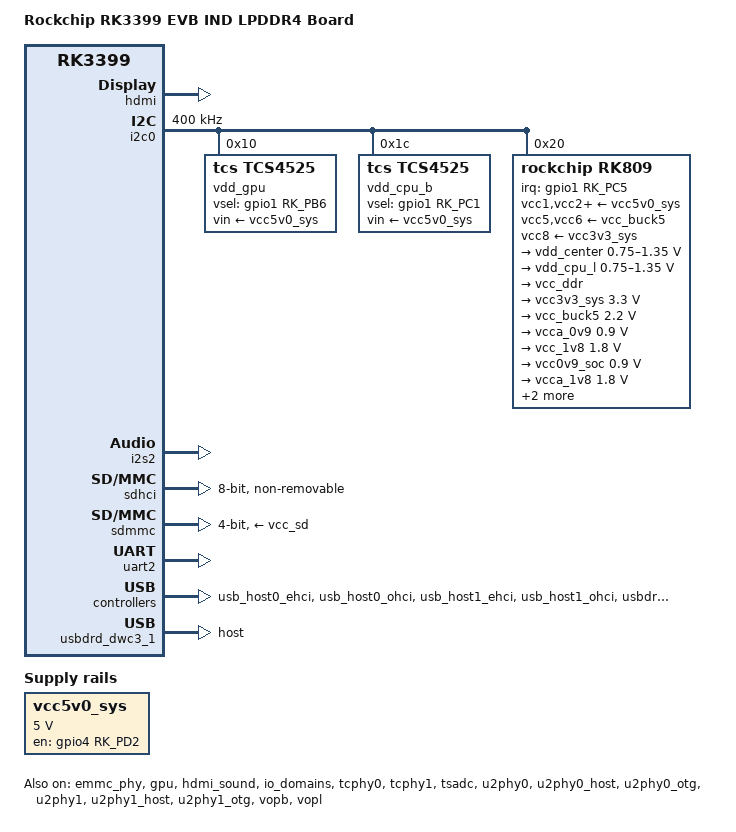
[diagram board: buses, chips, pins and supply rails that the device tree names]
// SPDX-License-Identifier: (GPL-2.0+ OR MIT)
/*
 * Copyright (c) 2025 Rockchip Electronics Co., Ltd.
 */

/dts-v1/;
#include "rk3399.dtsi"

/ {
	model = "Rockchip RK3399 EVB IND LPDDR4 Board";
	compatible = "rockchip,rk3399-evb-ind", "rockchip,rk3399";

	aliases {
		mmc0 = &sdhci;
		mmc1 = &sdmmc;
	};

	chosen {
		stdout-path = "serial2:1500000n8";
	};

	vcc5v0_sys: regulator-vcc5v0-sys {
		compatible = "regulator-fixed";
		enable-active-high;
		gpio = <&gpio4 RK_PD2 GPIO_ACTIVE_HIGH>;
		regulator-name = "vcc5v0_sys";
		regulator-always-on;
		regulator-boot-on;
		regulator-max-microvolt = <5000000>;
		regulator-min-microvolt = <5000000>;
	};
};

&cpu_b0 {
	cpu-supply = <&vdd_cpu_b>;
};

&cpu_b1 {
	cpu-supply = <&vdd_cpu_b>;
};

&cpu_l0 {
	cpu-supply = <&vdd_cpu_l>;
};

&cpu_l1 {
	cpu-supply = <&vdd_cpu_l>;
};

&cpu_l2 {
	cpu-supply = <&vdd_cpu_l>;
};

&cpu_l3 {
	cpu-supply = <&vdd_cpu_l>;
};

&emmc_phy {
	status = "okay";
};

&gpu {
	mali-supply = <&vdd_gpu>;
	status = "okay";
};

&hdmi {
	pinctrl-names = "default";
	pinctrl-0 = <&hdmi_i2c_xfer>, <&hdmi_cec>;
	status = "okay";
};

&hdmi_sound {
	status = "okay";
};

&i2c0 {
	clock-frequency = <400000>;
	i2c-scl-falling-time-ns = <4>;
	i2c-scl-rising-time-ns = <168>;
	status = "okay";

	vdd_gpu: regulator@10 {
		compatible = "tcs,tcs4525";
		reg = <0x10>;
		pinctrl-names = "default";
		pinctrl-0 = <&vsel2_gpio>;
		regulator-name = "vdd_gpu";
		regulator-always-on;
		regulator-boot-on;
		regulator-max-microvolt = <1500000>;
		regulator-min-microvolt = <712500>;
		regulator-ramp-delay = <1000>;
		vin-supply = <&vcc5v0_sys>;
		vsel-gpios = <&gpio1 RK_PB6 GPIO_ACTIVE_HIGH>;
		fcs,suspend-voltage-selector = <1>;

		regulator-state-mem {
			regulator-off-in-suspend;
		};
	};

	vdd_cpu_b: regulator@1c {
		compatible = "tcs,tcs4525";
		reg = <0x1c>;
		pinctrl-names = "default";
		pinctrl-0 = <&vsel1_gpio>;
		regulator-name = "vdd_cpu_b";
		regulator-always-on;
		regulator-boot-on;
		regulator-max-microvolt = <1500000>;
		regulator-min-microvolt = <712500>;
		regulator-ramp-delay = <1000>;
		vin-supply = <&vcc5v0_sys>;
		vsel-gpios = <&gpio1 RK_PC1 GPIO_ACTIVE_HIGH>;
		fcs,suspend-voltage-selector = <1>;

		regulator-state-mem {
			regulator-off-in-suspend;
		};
	};

	rk809: pmic@20 {
		compatible = "rockchip,rk809";
		reg = <0x20>;
		#clock-cells = <1>;
		clock-output-names = "xin32k", "rk808-clkout2";
		interrupt-parent = <&gpio1>;
		interrupts = <RK_PC5 IRQ_TYPE_LEVEL_LOW>;
		pinctrl-names = "default";
		pinctrl-0 = <&pmic_int_l>;
		wakeup-source;

		vcc1-supply = <&vcc5v0_sys>;
		vcc2-supply = <&vcc5v0_sys>;
		vcc3-supply = <&vcc5v0_sys>;
		vcc4-supply = <&vcc5v0_sys>;
		vcc5-supply = <&vcc_buck5>;
		vcc6-supply = <&vcc_buck5>;
		vcc7-supply = <&vcc5v0_sys>;
		vcc8-supply = <&vcc3v3_sys>;
		vcc9-supply = <&vcc5v0_sys>;

		regulators {
			vdd_center: DCDC_REG1 {
				regulator-name = "vdd_center";
				regulator-always-on;
				regulator-boot-on;
				regulator-initial-mode = <0x2>;
				regulator-max-microvolt = <1350000>;
				regulator-min-microvolt = <750000>;
				regulator-ramp-delay = <6001>;

				regulator-state-mem {
					regulator-off-in-suspend;
				};
			};

			vdd_cpu_l: DCDC_REG2 {
				regulator-name = "vdd_cpu_l";
				regulator-always-on;
				regulator-boot-on;
				regulator-initial-mode = <0x2>;
				regulator-max-microvolt = <1350000>;
				regulator-min-microvolt = <750000>;
				regulator-ramp-delay = <6001>;

				regulator-state-mem {
					regulator-off-in-suspend;
				};
			};

			vcc_ddr: DCDC_REG3 {
				regulator-name = "vcc_ddr";
				regulator-always-on;
				regulator-boot-on;
				regulator-initial-mode = <0x2>;

				regulator-state-mem {
					regulator-on-in-suspend;
				};
			};

			vcc3v3_sys: DCDC_REG4 {
				regulator-name = "vcc3v3_sys";
				regulator-always-on;
				regulator-boot-on;
				regulator-initial-mode = <0x2>;
				regulator-max-microvolt = <3300000>;
				regulator-min-microvolt = <3300000>;

				regulator-state-mem {
					regulator-on-in-suspend;
					regulator-suspend-microvolt = <3300000>;
				};
			};

			vcc_buck5: DCDC_REG5 {
				regulator-name = "vcc_buck5";
				regulator-always-on;
				regulator-boot-on;
				regulator-max-microvolt = <2200000>;
				regulator-min-microvolt = <2200000>;

				regulator-state-mem {
					regulator-on-in-suspend;
					regulator-suspend-microvolt = <2200000>;
				};
			};

			vcca_0v9: LDO_REG1 {
				regulator-name = "vcca_0v9";
				regulator-always-on;
				regulator-boot-on;
				regulator-max-microvolt = <900000>;
				regulator-min-microvolt = <900000>;

				regulator-state-mem {
					regulator-off-in-suspend;
				};
			};

			vcc_1v8: LDO_REG2 {
				regulator-name = "vcc_1v8";
				regulator-always-on;
				regulator-boot-on;
				regulator-max-microvolt = <1800000>;
				regulator-min-microvolt = <1800000>;

				regulator-state-mem {
					regulator-on-in-suspend;
					regulator-suspend-microvolt = <1800000>;
				};
			};

			vcc0v9_soc: LDO_REG3 {
				regulator-name = "vcc0v9_soc";
				regulator-always-on;
				regulator-boot-on;
				regulator-max-microvolt = <900000>;
				regulator-min-microvolt = <900000>;

				regulator-state-mem {
					regulator-on-in-suspend;
					regulator-suspend-microvolt = <900000>;
				};
			};

			vcca_1v8: LDO_REG4 {
				regulator-name = "vcca_1v8";
				regulator-always-on;
				regulator-boot-on;
				regulator-max-microvolt = <1800000>;
				regulator-min-microvolt = <1800000>;

				regulator-state-mem {
					regulator-off-in-suspend;
				};
			};

			vdd1v5_dvp: LDO_REG5 {
				regulator-name = "vdd1v5_dvp";
				regulator-always-on;
				regulator-boot-on;
				regulator-max-microvolt = <1500000>;
				regulator-min-microvolt = <1500000>;

				regulator-state-mem {
					regulator-off-in-suspend;
				};
			};

			vcc_1v5: LDO_REG6 {
				regulator-name = "vcc_1v5";
				regulator-always-on;
				regulator-boot-on;
				regulator-max-microvolt = <1500000>;
				regulator-min-microvolt = <1500000>;

				regulator-state-mem {
					regulator-off-in-suspend;
				};
			};

			vcc_3v0: LDO_REG7 {
				regulator-name = "vcc_3v0";
				regulator-always-on;
				regulator-boot-on;
				regulator-max-microvolt = <3000000>;
				regulator-min-microvolt = <3000000>;

				regulator-state-mem {
					regulator-off-in-suspend;
				};
			};

			vccio_sd: LDO_REG8 {
				regulator-name = "vccio_sd";
				regulator-always-on;
				regulator-boot-on;
				regulator-max-microvolt = <3300000>;
				regulator-min-microvolt = <1800000>;

				regulator-state-mem {
					regulator-off-in-suspend;
				};
			};

			vcc_sd: LDO_REG9 {
				regulator-name = "vcc_sd";
				regulator-always-on;
				regulator-boot-on;
				regulator-max-microvolt = <3300000>;
				regulator-min-microvolt = <3300000>;

				regulator-state-mem {
					regulator-off-in-suspend;
				};
			};

			vcc5v0_usb: SWITCH_REG1 {
				regulator-name = "vcc5v0_usb";
				regulator-always-on;
				regulator-boot-on;

				regulator-state-mem {
					regulator-on-in-suspend;
				};
			};

			vccio_3v3: SWITCH_REG2 {
				regulator-name = "vccio_3v3";
				regulator-always-on;
				regulator-boot-on;

				regulator-state-mem {
					regulator-off-in-suspend;
				};
			};
		};
	};
};

&i2s2 {
	status = "okay";
};

&io_domains {
	audio-supply = <&vcca_1v8>;
	bt656-supply = <&vcc_3v0>;
	gpio1830-supply = <&vcc_3v0>;
	sdmmc-supply = <&vccio_sd>;
	status = "okay";
};

&pinctrl {
	pmic {
		pmic_int_l: pmic-int-l {
			rockchip,pins = <1 RK_PC5 RK_FUNC_GPIO &pcfg_pull_up>;
		};

		vsel1_gpio: vsel1 {
			rockchip,pins = <1 RK_PC1 RK_FUNC_GPIO &pcfg_pull_down>;
		};

		vsel2_gpio: vsel2 {
			rockchip,pins = <1 RK_PB6 RK_FUNC_GPIO &pcfg_pull_down>;
		};
	};
};

&pmu_io_domains {
	pmu1830-supply = <&vcc_1v8>;
	status = "okay";
};

&sdhci {
	bus-width = <8>;
	keep-power-in-suspend;
	mmc-hs400-1_8v;
	mmc-hs400-enhanced-strobe;
	no-sdio;
	no-sd;
	non-removable;
	status = "okay";
};

&sdmmc {
	bus-width = <4>;
	cap-mmc-highspeed;
	cap-sd-highspeed;
	disable-wp;
	no-sdio;
	no-mmc;
	pinctrl-names = "default";
	pinctrl-0 = <&sdmmc_clk &sdmmc_cmd &sdmmc_bus4>;
	sd-uhs-sdr104;
	vmmc-supply = <&vcc_sd>;
	vqmmc-supply = <&vccio_sd>;
	status = "okay";
};

&tcphy0 {
	status = "okay";
};

&tcphy1 {
	status = "okay";
};

&tsadc {
	/* tshut mode 0:CRU 1:GPIO */
	rockchip,hw-tshut-mode = <1>;
	/* tshut polarity 0:LOW 1:HIGH */
	rockchip,hw-tshut-polarity = <1>;
	status = "okay";
};

&u2phy0 {
	status = "okay";
};

&u2phy0_host {
	status = "okay";
};

&u2phy0_otg {
	status = "okay";
};

&u2phy1 {
	status = "okay";
};

&u2phy1_host {
	status = "okay";
};

&u2phy1_otg {
	status = "okay";
};

&uart2 {
	status = "okay";
};

&usb_host0_ehci {
	status = "okay";
};

&usb_host0_ohci {
	status = "okay";
};

&usb_host1_ehci {
	status = "okay";
};

&usb_host1_ohci {
	status = "okay";
};

&usbdrd_dwc3_0 {
	status = "okay";
};

&usbdrd3_0 {
	status = "okay";
};

&usbdrd3_1 {
	status = "okay";
};

&usbdrd_dwc3_1 {
	dr_mode = "host";
	status = "okay";
};

&vopb {
	status = "okay";
};

&vopb_mmu {
	status = "okay";
};

&vopl {
	status = "okay";
};

&vopl_mmu {
	status = "okay";
};
